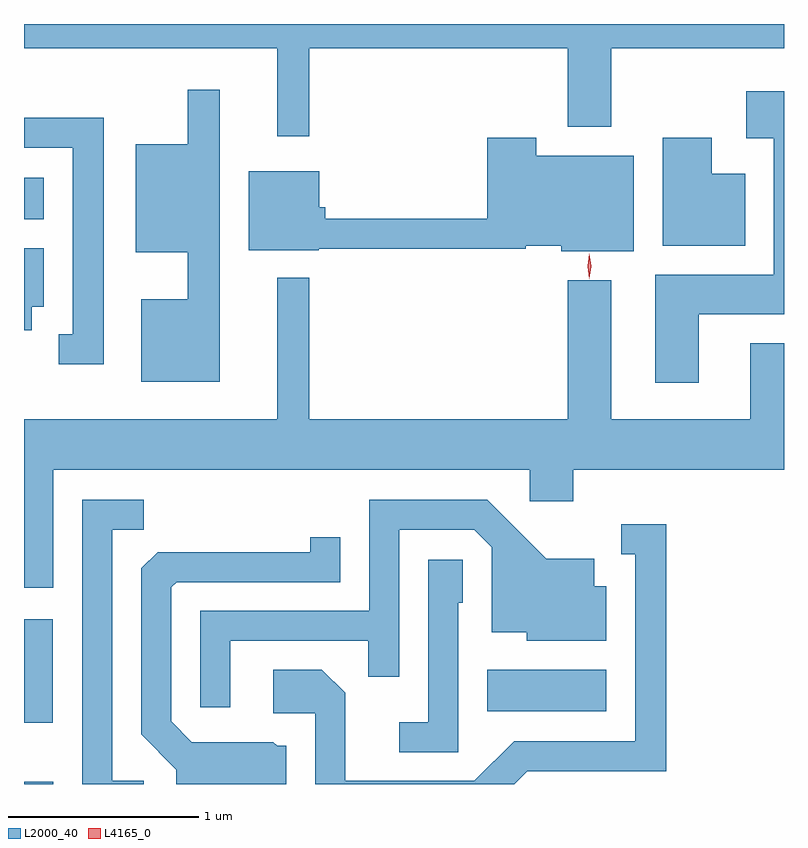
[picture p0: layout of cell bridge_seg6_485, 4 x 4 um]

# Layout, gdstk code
import gdstk
lib = gdstk.Library(unit=1e-6, precision=1e-09)
def R(c, l, rs):  # rectangles x0, y0, x1, y1
    for r in rs: c.add(gdstk.rectangle(r[:2], r[2:], *l))
def P(c, l, *ps):  # polygons
    for p in ps: c.add(gdstk.Polygon(p, *l))
L2000_40 = (2000, 40)
L4165_0 = (4165, 0)

bridge_seg6_485 = lib.new_cell('bridge_seg6_485')
R(bridge_seg6_485, L2000_40, [(1001.669,1570.583,1001.824,1570.594), (1001.669,1570.906,1001.819,1571.449), (1004.106,1570.966,1004.734,1571.184), (1001.669,1573.556,1001.774,1573.774)])
P(bridge_seg6_485, L2000_40, [(1003.169,1574.456),(1004.531,1574.456),(1004.531,1574.041),(1004.759,1574.041),(1004.759,1574.456),(1005.669,1574.456),(1005.669,1574.583),(1001.669,1574.583),(1001.669,1574.456),(1003.001,1574.456),(1003.001,1573.993),(1003.169,1573.993)],
  [(1002.699,1574.238),(1002.531,1574.238),(1002.531,1573.949),(1002.256,1573.949),(1002.256,1573.381),(1002.531,1573.381),(1002.531,1573.134),(1002.286,1573.134),(1002.286,1572.701),(1002.699,1572.701)],
  [(1005.219,1573.056),(1005.669,1573.056),(1005.669,1574.229),(1005.471,1574.229),(1005.471,1573.981),(1005.616,1573.981),(1005.616,1573.264),(1004.991,1573.264),(1004.991,1572.696),(1005.219,1572.696)],
  [(1002.089,1574.089),(1001.669,1574.089),(1001.669,1573.931),(1001.926,1573.931),(1001.926,1572.949),(1001.853,1572.949),(1001.853,1572.791),(1002.089,1572.791)],
  [(1005.464,1573.794),(1005.289,1573.794),(1005.289,1573.984),(1005.031,1573.984),(1005.031,1573.416),(1005.464,1573.416)],
  [(1004.879,1573.889),(1004.364,1573.889),(1004.364,1573.984),(1004.106,1573.984),(1004.106,1573.559),(1003.254,1573.559),(1003.254,1573.619),(1003.224,1573.619),(1003.224,1573.809),(1002.851,1573.809),(1002.851,1573.391),(1003.22,1573.391),(1003.22,1573.401),(1004.31,1573.401),(1004.31,1573.416),(1004.496,1573.416),(1004.496,1573.386),(1004.879,1573.386)],
  [(1001.709,1573.096),(1001.774,1573.096),(1001.774,1573.404),(1001.669,1573.404),(1001.669,1572.971),(1001.709,1572.971)],
  [(1001.824,1572.236),(1004.331,1572.236),(1004.331,1572.071),(1004.559,1572.071),(1004.559,1572.236),(1005.669,1572.236),(1005.669,1572.904),(1005.491,1572.904),(1005.491,1572.504),(1004.759,1572.504),(1004.759,1573.234),(1004.531,1573.234),(1004.531,1572.504),(1003.169,1572.504),(1003.169,1573.248),(1003.001,1573.248),(1003.001,1572.504),(1001.669,1572.504),(1001.669,1571.616),(1001.824,1571.616)],
  [(1002.298,1570.599),(1002.134,1570.599),(1002.134,1571.921),(1002.298,1571.921),(1002.298,1572.079),(1001.976,1572.079),(1001.976,1570.583),(1002.298,1570.583)],
  [(1002.754,1571.336),(1003.481,1571.336),(1003.481,1571.148),(1003.644,1571.148),(1003.644,1571.921),(1004.039,1571.921),(1004.131,1571.829),(1004.131,1571.381),(1004.316,1571.381),(1004.316,1571.336),(1004.734,1571.336),(1004.734,1571.624),(1004.669,1571.624),(1004.669,1571.769),(1004.417,1571.769),(1004.107,1572.079),(1003.486,1572.079),(1003.486,1571.494),(1002.596,1571.494),(1002.596,1570.988),(1002.754,1570.988)],
  [(1004.317,1570.651),(1005.049,1570.651),(1005.049,1571.949),(1004.813,1571.949),(1004.813,1571.791),(1004.886,1571.791),(1004.886,1570.809),(1004.249,1570.809),(1004.039,1570.599),(1003.359,1570.599),(1003.359,1571.062),(1003.237,1571.184),(1002.981,1571.184),(1002.981,1570.956),(1003.201,1570.956),(1003.201,1570.583),(1004.249,1570.583)],
  [(1003.049,1570.784),(1003.002,1570.784),(1002.982,1570.804),(1002.552,1570.804),(1002.444,1570.912),(1002.444,1571.619),(1002.472,1571.646),(1003.334,1571.646),(1003.334,1571.883),(1003.176,1571.883),(1003.176,1571.804),(1002.372,1571.804),(1002.286,1571.719),(1002.286,1570.844),(1002.471,1570.659),(1002.471,1570.583),(1003.049,1570.583)],
  [(1003.954,1571.536),(1003.979,1571.536),(1003.979,1571.764),(1003.796,1571.764),(1003.796,1570.909),(1003.643,1570.909),(1003.643,1570.751),(1003.954,1570.751)])
P(bridge_seg6_485, L4165_0, [(1004.644,1573.241),(1004.635,1573.307),(1004.644,1573.373),(1004.644,1573.374),(1004.645,1573.373),(1004.654,1573.308),(1004.645,1573.241),(1004.645,1573.241)])

lib.write_gds('bridge_seg6_485.gds')
